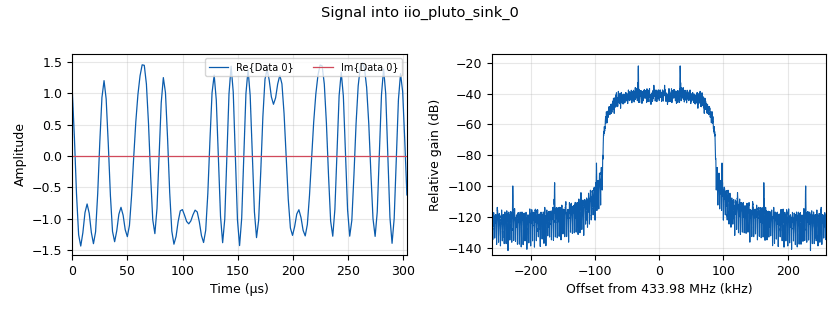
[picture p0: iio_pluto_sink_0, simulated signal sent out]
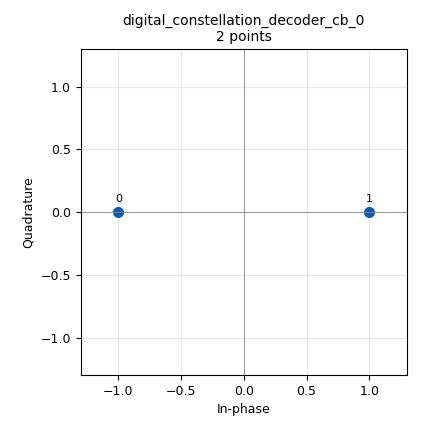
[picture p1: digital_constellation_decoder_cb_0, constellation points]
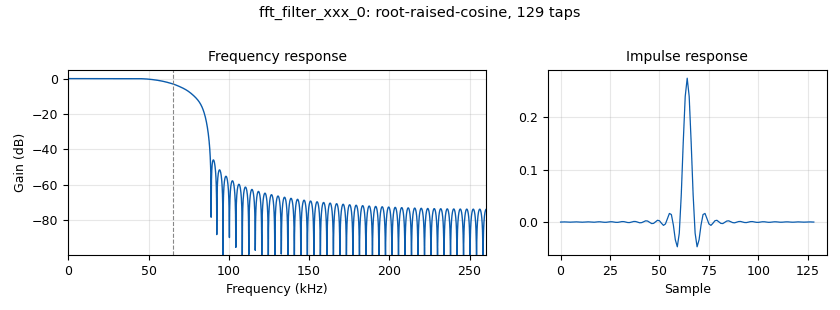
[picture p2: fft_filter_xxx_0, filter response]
options:
  parameters:
    author: mushab404
    description: PHY2 Universal Multi-Hardware BPSK Transceiver (Pluto, BladeRF, RTL-SDR)
    generate_options: qt_gui
    id: cdp_transceiver_multi_hardware
    output_language: python
    title: PHY2 Universal Multi-Hardware Transceiver
  states: {}

blocks:
- name: ADDR_PLUTO
  id: variable_qtgui_entry
  parameters:
    gui_hint: 0,0,1,1
    label: Pluto URI
    type: string
    value: '"ip:192.168.2.1"'
  states: {}
- name: SDR_CF
  id: variable_qtgui_range
  parameters:
    gui_hint: 0,1,1,1
    label: Center Frequency (Hz)
    start: 70e6
    step: 1e5
    stop: 6e9
    value: 433.98e6
  states: {}
- name: TX_GAIN
  id: variable_qtgui_range
  parameters:
    gui_hint: 1,0,1,1
    label: TX Gain / Atten
    start: '0'
    step: '1'
    stop: '60'
    value: '20'
  states: {}
- name: RX_GAIN
  id: variable_qtgui_range
  parameters:
    gui_hint: 1,1,1,1
    label: RX Gain (dB)
    start: '0'
    step: '1'
    stop: '73'
    value: '50'
  states: {}
- name: samp_rate
  id: variable
  parameters:
    value: '520833'
  states: {}
- name: sps
  id: variable
  parameters:
    value: '4'
  states: {}
- name: alpha
  id: variable
  parameters:
    value: '0.35'
  states: {}
- name: payload_size
  id: variable
  parameters:
    value: '64'
  states: {}
- name: preamble_size
  id: variable
  parameters:
    value: '32'
  states: {}
- name: fll_loop_bw
  id: variable_qtgui_range
  parameters:
    gui_hint: 2,0,1,1
    label: FLL Loop BW
    start: '0.001'
    step: '0.002'
    stop: '0.1'
    value: '0.0314'
  states: {}
- name: costas_bw
  id: variable_qtgui_range
  parameters:
    gui_hint: 2,1,1,1
    label: Costas Loop BW
    start: '0.01'
    step: '0.005'
    stop: '0.2'
    value: '0.0628'
  states: {}
- name: rcc_taps
  id: variable_rrc_filter_taps
  parameters:
    alpha: alpha
    gain: '1.0'
    ntaps: 32*sps
    samp_rate: samp_rate
    sym_rate: samp_rate/sps
  states: {}
- name: BPSK_CONST
  id: variable_constellation_rect
  parameters:
    const_points: '[-1+0j, 1+0j]'
    imag_sect: '2'
    real_sect: '2'
    rot_sym: '2'
    sym_map: '[0, 1]'
    w_imag_sect: '1'
    w_real_sect: '1'
  states: {}
- name: hdr
  id: variable
  parameters:
    value: digital.header_format_default(digital.packet_utils.default_access_code, 0)
  states: {}
- name: analog_random_source_x_0
  id: analog_random_source_x
  parameters:
    max: '256'
    min: '0'
    num_samps: '1000'
    repeat: 'True'
    type: byte
  states: {}
- name: blocks_stream_to_tagged_stream_0
  id: blocks_stream_to_tagged_stream
  parameters:
    len_tag_key: '"packet_len"'
    packet_len: payload_size
    type: byte
  states: {}
- name: digital_crc32_bb_0
  id: digital_crc32_bb
  parameters:
    check: 'False'
    length_tag_key: '"packet_len"'
    packed: 'True'
  states: {}
- name: digital_protocol_formatter_bb_0
  id: digital_protocol_formatter_bb
  parameters:
    format: hdr
    len_tag_key: '"packet_len"'
  states: {}
- name: analog_random_source_x_preamble
  id: analog_random_source_x
  parameters:
    max: '86'
    min: '85'
    num_samps: '1000'
    repeat: 'True'
    type: byte
  states: {}
- name: blocks_stream_to_tagged_stream_preamble
  id: blocks_stream_to_tagged_stream
  parameters:
    len_tag_key: '"packet_len"'
    packet_len: preamble_size
    type: byte
  states: {}
- name: blocks_tagged_stream_mux_0
  id: blocks_tagged_stream_mux
  parameters:
    lengthtagname: '"packet_len"'
    ninputs: '3'
    type: byte
  states: {}
- name: digital_constellation_modulator_0
  id: digital_constellation_modulator
  parameters:
    constellation: BPSK_CONST
    differential: 'True'
    excess_bw: alpha
    samples_per_symbol: sps
  states: {}
- name: iio_pluto_sink_0
  id: iio_pluto_sink
  parameters:
    attenuation1: TX_GAIN
    bandwidth: '20000000'
    buffer_size: '32768'
    cyclic: 'False'
    filter_source: '''Auto'''
    frequency: int(SDR_CF)
    samplerate: int(samp_rate)
    type: fc32
    uri: ADDR_PLUTO
  states: {}
- name: soapy_bladerf_sink_0
  id: soapy_bladerf_sink
  parameters:
    center_freq: SDR_CF
    dev_args: '"driver=bladerf"'
    gain: TX_GAIN
    samp_rate: samp_rate
    type: fc32
  states: {state: disabled}
- name: iio_pluto_source_0
  id: iio_pluto_source
  parameters:
    bandwidth: '20000000'
    bbdc: 'True'
    buffer_size: '32768'
    filter_source: '''Auto'''
    frequency: int(SDR_CF)
    gain1: '''manual'''
    manual_gain1: RX_GAIN
    quadrature: 'True'
    rfdc: 'True'
    samplerate: int(samp_rate)
    type: fc32
    uri: ADDR_PLUTO
  states: {}
- name: soapy_bladerf_source_0
  id: soapy_bladerf_source
  parameters:
    center_freq: SDR_CF
    dev_args: '"driver=bladerf"'
    gain: RX_GAIN
    samp_rate: samp_rate
    type: fc32
  states: {state: disabled}
- name: soapy_rtlsdr_source_0
  id: soapy_rtlsdr_source
  parameters:
    center_freq: SDR_CF
    dev_args: '"driver=rtlsdr"'
    gain: RX_GAIN
    samp_rate: samp_rate
    type: fc32
  states: {state: disabled}
- name: channels_channel_model_0
  id: channels_channel_model
  parameters:
    comment: Enable for pre-test without physical SDR
    epsilon: '1.0'
    frequency_offset: '0.0'
    noise_seed: '0'
    noise_voltage: '0.0'
    taps: '[1.0]'
  states: {state: disabled}
- name: analog_agc_xx_0
  id: analog_agc_xx
  parameters:
    gain: '1.0'
    max_gain: '65536'
    rate: '1e-2'
    reference: '1.0'
    type: complex
  states: {}
- name: digital_fll_band_edge_cc_0
  id: digital_fll_band_edge_cc
  parameters:
    filter_size: 2*sps+1
    rolloff: alpha
    samps_per_sym: sps
    type: cc
    w: fll_loop_bw
  states: {}
- name: fft_filter_xxx_0
  id: fft_filter_xxx
  parameters:
    decim: '1'
    taps: rcc_taps
    type: ccc
  states: {}
- name: digital_symbol_sync_xx_0
  id: digital_symbol_sync_xx
  parameters:
    damping: '1.0'
    loop_bw: '0.045'
    max_dev: '1.5'
    osps: '1'
    resamp_type: digital.IR_MMSE_8TAP
    sps: sps
    ted_gain: '1.0'
    ted_type: digital.TED_MUELLER_AND_MULLER
    type: cc
  states: {}
- name: digital_costas_loop_cc_0
  id: digital_costas_loop_cc
  parameters:
    order: '2'
    w: costas_bw
  states: {}
- name: qtgui_const_sink_x_0
  id: qtgui_const_sink_x
  parameters:
    grid: 'True'
    gui_hint: 3,0,1,1
    label1: Hardware SDR Constellation
    size: '1024'
    type: complex
  states: {}
- name: digital_constellation_decoder_cb_0
  id: digital_constellation_decoder_cb
  parameters:
    constellation: BPSK_CONST
  states: {}
- name: digital_diff_decoder_bb_0
  id: digital_diff_decoder_bb
  parameters:
    modulus: '2'
  states: {}
- name: digital_correlate_access_code_xx_ts_0
  id: digital_correlate_access_code_xx_ts
  parameters:
    access_code: digital.packet_utils.default_access_code
    tagname: '"packet_len"'
    threshold: '2'
    type: byte
  states: {}
- name: blocks_repack_bits_bb_0
  id: blocks_repack_bits_bb
  parameters:
    endianness: gr.GR_MSB_FIRST
    k: '1'
    l: '8'
    len_tag_key: '"packet_len"'
  states: {}
- name: digital_crc32_bb_1
  id: digital_crc32_bb
  parameters:
    check: 'True'
    length_tag_key: '"packet_len"'
    packed: 'True'
  states: {}
- name: pdu_tagged_stream_to_pdu_0
  id: pdu_tagged_stream_to_pdu
  parameters:
    tag: '"packet_len"'
    type: byte
  states: {}
- name: blocks_message_debug_0
  id: blocks_message_debug
  parameters: {}
  states: {}

connections:
- [analog_random_source_x_0, '0', blocks_stream_to_tagged_stream_0, '0']
- [blocks_stream_to_tagged_stream_0, '0', digital_crc32_bb_0, '0']
- [digital_crc32_bb_0, '0', digital_protocol_formatter_bb_0, '0']
- [analog_random_source_x_preamble, '0', blocks_stream_to_tagged_stream_preamble, '0']
- [blocks_stream_to_tagged_stream_preamble, '0', blocks_tagged_stream_mux_0, '0']
- [digital_protocol_formatter_bb_0, '0', blocks_tagged_stream_mux_0, '1']
- [digital_crc32_bb_0, '0', blocks_tagged_stream_mux_0, '2']
- [blocks_tagged_stream_mux_0, '0', digital_constellation_modulator_0, '0']
- [digital_constellation_modulator_0, '0', iio_pluto_sink_0, '0']
- [iio_pluto_source_0, '0', analog_agc_xx_0, '0']
- [analog_agc_xx_0, '0', digital_fll_band_edge_cc_0, '0']
- [digital_fll_band_edge_cc_0, '0', fft_filter_xxx_0, '0']
- [fft_filter_xxx_0, '0', digital_symbol_sync_xx_0, '0']
- [digital_symbol_sync_xx_0, '0', digital_costas_loop_cc_0, '0']
- [digital_costas_loop_cc_0, '0', qtgui_const_sink_x_0, '0']
- [digital_costas_loop_cc_0, '0', digital_constellation_decoder_cb_0, '0']
- [digital_constellation_decoder_cb_0, '0', digital_diff_decoder_bb_0, '0']
- [digital_diff_decoder_bb_0, '0', digital_correlate_access_code_xx_ts_0, '0']
- [digital_correlate_access_code_xx_ts_0, '0', blocks_repack_bits_bb_0, '0']
- [blocks_repack_bits_bb_0, '0', digital_crc32_bb_1, '0']
- [digital_crc32_bb_1, '0', pdu_tagged_stream_to_pdu_0, '0']
- [pdu_tagged_stream_to_pdu_0, pdus, blocks_message_debug_0, print_pdu]

metadata:
  file_format: 1
  grc_version: 3.10.12.0
